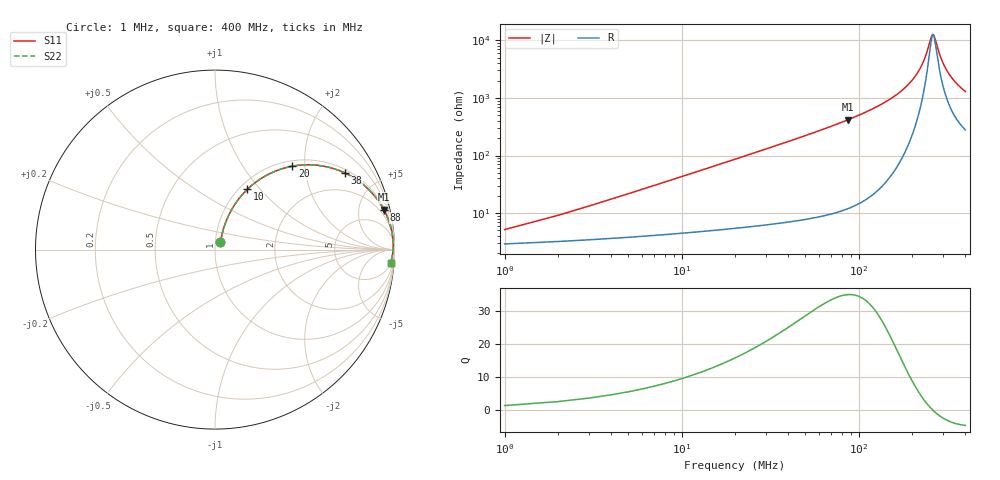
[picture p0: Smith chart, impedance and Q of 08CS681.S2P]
! Coilcraft 0805CS-681 Chip Inductor
! 11 June 2002
# MHZ S MA R 50
!Freq  MagS11  AngS11  MagS21  AngS21  MagS12  AngS12  MagS22  AngS22
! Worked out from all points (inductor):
!   400 points, 1 MHz to 400 MHz, reference 50 ohm
!   read as one part in series: L = 680 nH near 3 MHz
!   highest Q = 34.9 at 87 MHz (marker M1), where L = 764 nH
!   self-resonance near 262 MHz
!   S11 on the Smith chart (normalised r, x): 1 MHz: 1.06, +0.09; 10 MHz: 1.09, +0.86; 20 MHz: 1.11, +1.72; 38 MHz: 1.14, +3.32; 88 MHz: 1.24, +8.47; 400 MHz: 7, -25
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1  0.05021 53.3  0.9708 -2.4  0.9708 -2.4  0.05021 53.3
2  0.08815 64.7  0.9656 -4.7  0.9656 -4.7  0.08815 64.7
4  0.1664 68.6  0.9521 -9.4  0.9521 -9.4  0.1664 68.6
7  0.2789 66.2  0.9233 -16.0  0.9233 -16.0  0.2789 66.2
10  0.3811 61.8  0.8858 -22.3  0.8858 -22.3  0.3811 61.8
14  0.4981 55.6  0.8276 -29.8  0.8276 -29.8  0.4981 55.6
20  0.6331 47.2  0.7351 -39.2  0.7351 -39.2  0.6331 47.2
29  0.7643 37.4  0.6085 -49.8  0.6085 -49.8  0.7643 37.4
38  0.8414 30.4  0.5069 -57.2  0.5069 -57.2  0.8414 30.4
68  0.9439 17.6  0.3029 -70.6  0.3029 -70.6  0.9439 17.6
87  0.9663 13.4  0.2313 -75.0  0.2313 -75.0  0.9663 13.4
88  0.9671 13.2  0.2282 -75.2  0.2282 -75.2  0.9671 13.2
134  0.9872 7.3  0.1275 -80.6  0.1275 -80.6  0.9872 7.3
201  0.9934 2.7  0.04821 -80.7  0.04821 -80.7  0.9934 2.7
231  0.9932 1.3  0.02376 -72.8  0.02376 -72.8  0.9932 1.3
258  0.9924 0.2  0.008336 -23.4  0.008336 -23.4  0.9924 0.2
262  0.9922 0.0  0.007848 -4.6  0.007848 -4.6  0.9922 0.0
267  0.9919 -0.2  0.008491 18.2  0.008491 18.2  0.9919 -0.2
283  0.9911 -0.7  0.01562 54.7  0.01562 54.7  0.9911 -0.7
296  0.9902 -1.2  0.02283 64.1  0.02283 64.1  0.9902 -1.2
334  0.9873 -2.4  0.04361 71.9  0.04361 71.9  0.9873 -2.4
400  0.9809 -4.3  0.07606 73.3  0.07606 73.3  0.9809 -4.3
